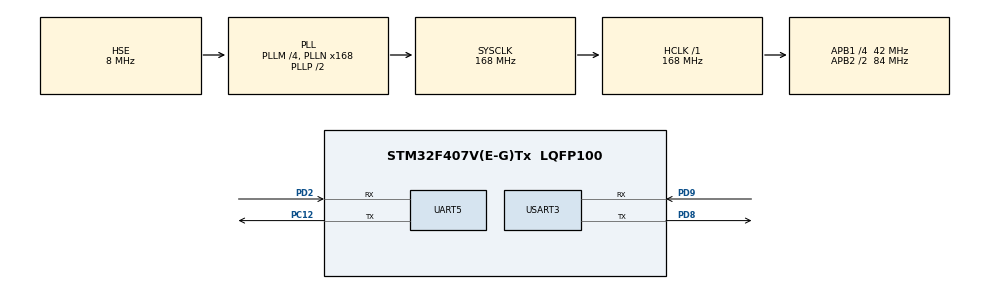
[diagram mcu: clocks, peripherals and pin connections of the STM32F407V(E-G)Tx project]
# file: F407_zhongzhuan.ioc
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Mcu.Family=STM32F4
Mcu.Name=STM32F407V(E-G)Tx
Mcu.Package=LQFP100
NVIC.PriorityGroup=NVIC_PRIORITYGROUP_4
NVIC.UART5_IRQn=true\:0\:0\:false\:false\:true\:true\:true\:true
NVIC.USART3_IRQn=true\:0\:0\:false\:false\:true\:true\:true\:true
PA13.Mode=Serial_Wire
PA13.Signal=SYS_JTMS-SWDIO
PA14.Mode=Serial_Wire
PA14.Signal=SYS_JTCK-SWCLK
PC12.Mode=Asynchronous
PC12.Signal=UART5_TX
PD2.Mode=Asynchronous
PD2.Signal=UART5_RX
PD8.Mode=Asynchronous
PD8.Signal=USART3_TX
PD9.Mode=Asynchronous
PD9.Signal=USART3_RX
PH0-OSC_IN.Mode=HSE-External-Oscillator
PH0-OSC_IN.Signal=RCC_OSC_IN
PH1-OSC_OUT.Mode=HSE-External-Oscillator
PH1-OSC_OUT.Signal=RCC_OSC_OUT
ProjectManager.HeapSize=0x200
ProjectManager.StackSize=0x400
ProjectManager.TargetToolchain=MDK-ARM V5.27
RCC.48MHZClocksFreq_Value=84000000
RCC.AHBFreq_Value=168000000
RCC.APB1CLKDivider=RCC_HCLK_DIV4
RCC.APB1Freq_Value=42000000
RCC.APB1TimFreq_Value=84000000
RCC.APB2CLKDivider=RCC_HCLK_DIV2
RCC.APB2Freq_Value=84000000
RCC.APB2TimFreq_Value=168000000
RCC.CortexFreq_Value=168000000
RCC.HCLKFreq_Value=168000000
RCC.HSE_VALUE=8000000
RCC.HSI_VALUE=16000000
RCC.LSE_VALUE=32768
RCC.PLLM=4
RCC.PLLN=168
RCC.PLLSourceVirtual=RCC_PLLSOURCE_HSE
RCC.SYSCLKFreq_VALUE=168000000
RCC.SYSCLKSource=RCC_SYSCLKSOURCE_PLLCLK
RCC.VCOOutputFreq_Value=336000000
UART5.VirtualMode=Asynchronous
USART3.VirtualMode=VM_ASYNC
board=custom

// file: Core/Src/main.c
/* USER CODE BEGIN Header */
/**
  ******************************************************************************
  * @file           : main.c
  * @brief          : Main program body
  ******************************************************************************
  * @attention
  *
  * Copyright (c) 2025 STMicroelectronics.
  * All rights reserved.
  *
  * This software is licensed under terms that can be found in the LICENSE file
  * in the root directory of this software component.
  * If no LICENSE file comes with this software, it is provided AS-IS.
  *
  ******************************************************************************
  */
/* USER CODE END Header */
#include "main.h"
#include "usart.h"
#include "gpio.h"

/* USER CODE BEGIN Includes */
#include <string.h>
#include <stdbool.h>
/* USER CODE END Includes */

/* USER CODE BEGIN PV */
extern UART_HandleTypeDef huart3;  // 上位机
extern UART_HandleTypeDef huart5;  // F103

//uint8_t rx3, rx5;  // 分别用于两个串口的单字节缓冲
/* USER CODE END PV */

void SystemClock_Config(void);

/* USER CODE BEGIN 0 */
//void HAL_UART_RxCpltCallback(UART_HandleTypeDef *huart)
//{
//  if (huart->Instance == USART3)
//  {
//    // 收到上位机数据 -> 转发给F103
//    HAL_UART_Transmit(&huart5, &rx3, 1, HAL_MAX_DELAY);
//    // 再次打开中断接收
//    HAL_UART_Receive_IT(&huart3, &rx3, 1);
//  }
//  else if (huart->Instance == UART5)
//  {
//    // 收到F103数据 -> 转发给上位机
//    HAL_UART_Transmit(&huart3, &rx5, 1, HAL_MAX_DELAY);
//    // 再次打开中断接收
//    HAL_UART_Receive_IT(&huart5, &rx5, 1);
//  }
//}

// 与F103保持一致的帧定义
#define FRAME_HEADER_1 0xFE
#define FRAME_HEADER_2 0xFE
#define FRAME_END      0xFA
#define FRAME_MAX_LEN  256

typedef enum {
    RX_STATE_WAIT_HEADER1 = 0,
    RX_STATE_WAIT_HEADER2,
    RX_STATE_WAIT_LENGTH,
    RX_STATE_WAIT_ID,
    RX_STATE_WAIT_CMD,
    RX_STATE_WAIT_CONTENT,
	RX_STATE_WAIT_CRC_HIGH,    // 新增：CRC 高字节
    RX_STATE_WAIT_CRC_LOW,     // 新增：CRC 低字节
    RX_STATE_WAIT_END
} RxState;

// 抽象一个“端口”结构，左右两路各来一份
typedef struct {
    UART_HandleTypeDef *huart;
    uint8_t  rxByte;
    volatile RxState state;
    uint8_t  buf[FRAME_MAX_LEN];
    uint16_t idx;
    uint8_t  rx_len;
    volatile uint8_t frameReady;
    uint8_t  lastByte;         //记录上一个字节，用于检测 FE FE
} BridgePort;

static BridgePort portPC   = { .huart = &huart3, .state = RX_STATE_WAIT_HEADER1 };
static BridgePort portF103 = { .huart = &huart5, .state = RX_STATE_WAIT_HEADER1 };

// 复位函数
static inline void reset_port(BridgePort *p)
{
    p->state = RX_STATE_WAIT_HEADER1;
    p->idx = 0;
    p->rx_len = 0;
    p->frameReady = 0;
}

// 把某端口的已收完整帧原样转发到另一端
static inline void forward_full_frame(BridgePort *from, BridgePort *to)
{
    // 总帧长 = 2(头) + 1(长度) + rx_len
    uint16_t total = 3 + from->rx_len;
    if (total > FRAME_MAX_LEN) total = FRAME_MAX_LEN; // 兜底

    HAL_UART_Transmit(to->huart, from->buf, total, HAL_MAX_DELAY);
    from->frameReady = 0;
}

// 自同步帧状态机
static inline void rx_state_machine(BridgePort *p)
{
    //自同步检测逻辑：在任意状态，如果连续检测到 FE FE，则立即重同步
    if (p->lastByte == FRAME_HEADER_1 && p->rxByte == FRAME_HEADER_2) {
        p->idx = 0;
        p->buf[p->idx++] = FRAME_HEADER_1;
        p->buf[p->idx++] = FRAME_HEADER_2;
        p->state = RX_STATE_WAIT_LENGTH;
        p->lastByte = p->rxByte;
        return; // 直接重同步，不走后面的状态机逻辑
    }

    switch (p->state)
    {
    case RX_STATE_WAIT_HEADER1:
        if (p->rxByte == FRAME_HEADER_1) {
            p->idx = 0;
            p->buf[p->idx++] = p->rxByte;
            p->state = RX_STATE_WAIT_HEADER2;
        }
        break;

    case RX_STATE_WAIT_HEADER2:
        if (p->rxByte == FRAME_HEADER_2) {
            p->buf[p->idx++] = p->rxByte;
            p->state = RX_STATE_WAIT_LENGTH;
        } else if (p->rxByte == FRAME_HEADER_1) {
            // 如果连续两个FE（可能上次丢失一个），保持同步
            p->idx = 1;
            p->buf[0] = FRAME_HEADER_1;
            p->state = RX_STATE_WAIT_HEADER2;
        } else {
            p->state = RX_STATE_WAIT_HEADER1;
            p->idx = 0;
        }
        break;

    case RX_STATE_WAIT_LENGTH:
        p->rx_len = p->rxByte;
        p->buf[p->idx++] = p->rxByte;
        if (p->rx_len >= 3 && (3 + p->rx_len) <= FRAME_MAX_LEN)
            p->state = RX_STATE_WAIT_ID;
        else
            reset_port(p);
        break;

    case RX_STATE_WAIT_ID:
        p->buf[p->idx++] = p->rxByte;
        p->state = RX_STATE_WAIT_CMD;
        break;

    case RX_STATE_WAIT_CMD:
    p->buf[p->idx++] = p->rxByte;

    if (p->rx_len > 5) {     // 有内容
        p->state = RX_STATE_WAIT_CONTENT;
    } else {                 // 无内容（LEN = 5）
        p->state = RX_STATE_WAIT_CRC_HIGH;
    }
    break;

case RX_STATE_WAIT_CONTENT:
    if (p->idx < FRAME_MAX_LEN) {
        p->buf[p->idx++] = p->rxByte;

        // 正确：内容长度 = LEN - 5
        uint16_t payload_len = (uint16_t)p->rx_len - 5;
        // 已收到的内容字节数 = idx - 5
        uint16_t received = (uint16_t)p->idx - 5;

        // 如果 payload_len==0 的情况在进入到此分支前应已被避开（LEN==5）
        if (received >= payload_len) {
            p->state = RX_STATE_WAIT_CRC_HIGH;
        }
    } else {
        reset_port(p);
    }
    break;

case RX_STATE_WAIT_CRC_HIGH:
    p->buf[p->idx++] = p->rxByte;
    p->state = RX_STATE_WAIT_CRC_LOW;
    break;

case RX_STATE_WAIT_CRC_LOW:
    p->buf[p->idx++] = p->rxByte;
    p->state = RX_STATE_WAIT_END;
    break;

case RX_STATE_WAIT_END:
    if (p->rxByte == FRAME_END) {
        p->buf[p->idx++] = p->rxByte;
        p->frameReady = 1;
    }
    p->state = RX_STATE_WAIT_HEADER1;
    break;
    }

    // 更新 lastByte
    p->lastByte = p->rxByte;
}

// HAL 回调：两路端口共用同一套状态机
void HAL_UART_RxCpltCallback(UART_HandleTypeDef *huart)
{
    BridgePort *p = NULL;

    if (huart->Instance == USART3) {
        p = &portPC;
        p->rxByte = portPC.rxByte;
    } else if (huart->Instance == UART5) {
        p = &portF103;
        p->rxByte = portF103.rxByte;
    } else {
        // 不是我们的桥接串口
        return;
    }

    rx_state_machine(p);

    // 继续收下一个字节
    HAL_UART_Receive_IT(p->huart, &p->rxByte, 1);
}
/* USER CODE END 0 */

int main(void)
{

  /* MCU Configuration--------------------------------------------------------*/

  /* Reset of all peripherals, Initializes the Flash interface and the Systick. */
  HAL_Init();

  /* Configure the system clock */
  SystemClock_Config();

  /* Initialize all configured peripherals */
  MX_GPIO_Init();
  MX_UART5_Init();
  MX_USART3_UART_Init();
  /* USER CODE BEGIN 2 */
  // 启动接收中断
  HAL_UART_Receive_IT(portPC.huart,   &portPC.rxByte,   1);
  HAL_UART_Receive_IT(portF103.huart, &portF103.rxByte, 1);
  /* USER CODE END 2 */

  /* Infinite loop */
  while (1)
  {

    /* USER CODE BEGIN 3 */
		        // 当上位机发来完整帧，转发给F103
        // PC -> F103
        if (portPC.frameReady) {
            forward_full_frame(&portPC, &portF103);
        }
        // F103 -> PC
        if (portF103.frameReady) {
            forward_full_frame(&portF103, &portPC);
				}
  }
  /* USER CODE END 3 */
}

void SystemClock_Config(void)
{
  RCC_OscInitTypeDef RCC_OscInitStruct = {0};
  RCC_ClkInitTypeDef RCC_ClkInitStruct = {0};

  /** Configure the main internal regulator output voltage
  */
  __HAL_RCC_PWR_CLK_ENABLE();
  __HAL_PWR_VOLTAGESCALING_CONFIG(PWR_REGULATOR_VOLTAGE_SCALE1);

  /** Initializes the RCC Oscillators according to the specified parameters
  * in the RCC_OscInitTypeDef structure.
  */
  RCC_OscInitStruct.OscillatorType = RCC_OSCILLATORTYPE_HSE;
  RCC_OscInitStruct.HSEState = RCC_HSE_ON;
  RCC_OscInitStruct.PLL.PLLState = RCC_PLL_ON;
  RCC_OscInitStruct.PLL.PLLSource = RCC_PLLSOURCE_HSE;
  RCC_OscInitStruct.PLL.PLLM = 4;
  RCC_OscInitStruct.PLL.PLLN = 168;
  RCC_OscInitStruct.PLL.PLLP = RCC_PLLP_DIV2;
  RCC_OscInitStruct.PLL.PLLQ = 4;
  if (HAL_RCC_OscConfig(&RCC_OscInitStruct) != HAL_OK)
  {
    Error_Handler();
  }

  /** Initializes the CPU, AHB and APB buses clocks
  */
  RCC_ClkInitStruct.ClockType = RCC_CLOCKTYPE_HCLK|RCC_CLOCKTYPE_SYSCLK
                              |RCC_CLOCKTYPE_PCLK1|RCC_CLOCKTYPE_PCLK2;
  RCC_ClkInitStruct.SYSCLKSource = RCC_SYSCLKSOURCE_PLLCLK;
  RCC_ClkInitStruct.AHBCLKDivider = RCC_SYSCLK_DIV1;
  RCC_ClkInitStruct.APB1CLKDivider = RCC_HCLK_DIV4;
  RCC_ClkInitStruct.APB2CLKDivider = RCC_HCLK_DIV2;

  if (HAL_RCC_ClockConfig(&RCC_ClkInitStruct, FLASH_LATENCY_5) != HAL_OK)
  {
    Error_Handler();
  }
}

void Error_Handler(void)
{
  __disable_irq();
  while (1)
  {
  }
}
